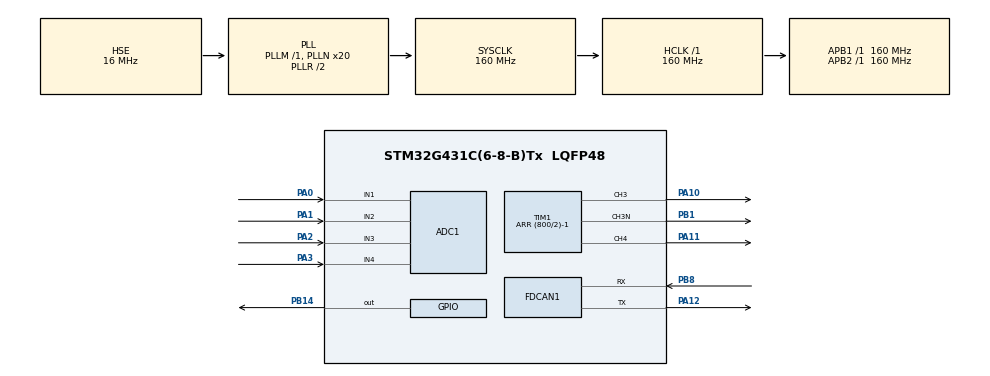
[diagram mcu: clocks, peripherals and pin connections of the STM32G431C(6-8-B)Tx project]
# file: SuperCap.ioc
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ADC1.Channel-0\#ChannelRegularConversion=ADC_CHANNEL_1
ADC1.Channel-1\#ChannelRegularConversion=ADC_CHANNEL_2
ADC1.Channel-2\#ChannelRegularConversion=ADC_CHANNEL_3
ADC1.Channel-3\#ChannelRegularConversion=ADC_CHANNEL_4
ADC1.Channel-4\#ChannelRegularConversion=ADC_CHANNEL_4
ADC1.ContinuousConvMode=DISABLE
ADC1.DMAContinuousRequests=ENABLE
ADC1.ExternalTrigConv=ADC_EXTERNALTRIG_T1_TRGO
ADC1.NbrOfConversion=5
ADC1.NbrOfConversionFlag=1
ADC1.OffsetNumber-0\#ChannelRegularConversion=ADC_OFFSET_NONE
ADC1.OffsetNumber-1\#ChannelRegularConversion=ADC_OFFSET_NONE
ADC1.OffsetNumber-2\#ChannelRegularConversion=ADC_OFFSET_NONE
ADC1.OffsetNumber-3\#ChannelRegularConversion=ADC_OFFSET_NONE
ADC1.OffsetNumber-4\#ChannelRegularConversion=ADC_OFFSET_NONE
ADC1.Overrun=ADC_OVR_DATA_OVERWRITTEN
ADC1.Rank-0\#ChannelRegularConversion=1
ADC1.Rank-1\#ChannelRegularConversion=2
ADC1.Rank-2\#ChannelRegularConversion=3
ADC1.Rank-3\#ChannelRegularConversion=4
ADC1.Rank-4\#ChannelRegularConversion=5
ADC1.SamplingTime-0\#ChannelRegularConversion=ADC_SAMPLETIME_6CYCLES_5
ADC1.SamplingTime-1\#ChannelRegularConversion=ADC_SAMPLETIME_6CYCLES_5
ADC1.SamplingTime-2\#ChannelRegularConversion=ADC_SAMPLETIME_6CYCLES_5
ADC1.SamplingTime-3\#ChannelRegularConversion=ADC_SAMPLETIME_6CYCLES_5
ADC1.SamplingTime-4\#ChannelRegularConversion=ADC_SAMPLETIME_6CYCLES_5
ADC1.master=1
Dma.ADC1.0.Direction=DMA_PERIPH_TO_MEMORY
Dma.ADC1.0.EventEnable=DISABLE
Dma.ADC1.0.Instance=DMA1_Channel1
Dma.ADC1.0.MemDataAlignment=DMA_MDATAALIGN_HALFWORD
Dma.ADC1.0.MemInc=DMA_MINC_ENABLE
Dma.ADC1.0.Mode=DMA_CIRCULAR
Dma.ADC1.0.PeriphDataAlignment=DMA_PDATAALIGN_HALFWORD
Dma.ADC1.0.PeriphInc=DMA_PINC_DISABLE
Dma.ADC1.0.Polarity=HAL_DMAMUX_REQ_GEN_RISING
Dma.ADC1.0.Priority=DMA_PRIORITY_HIGH
Dma.ADC1.0.RequestNumber=1
Dma.ADC1.0.SignalID=NONE
Dma.ADC1.0.SyncEnable=DISABLE
Dma.ADC1.0.SyncPolarity=HAL_DMAMUX_SYNC_NO_EVENT
Dma.ADC1.0.SyncRequestNumber=1
Dma.ADC1.0.SyncSignalID=NONE
Dma.Request0=ADC1
FDCAN1.CalculateBaudRateNominal=2000000
FDCAN1.CalculateTimeBitNominal=500
FDCAN1.CalculateTimeQuantumNominal=100.0
Mcu.Family=STM32G4
Mcu.Name=STM32G431C(6-8-B)Tx
Mcu.Package=LQFP48
NVIC.DMA1_Channel1_IRQn=true\:0\:0\:false\:false\:true\:false\:true\:true
NVIC.PriorityGroup=NVIC_PRIORITYGROUP_4
NVIC.TIM1_UP_TIM16_IRQn=true\:0\:0\:true\:false\:true\:true\:true\:true
PA0.Mode=IN1-Single-Ended
PA0.Signal=ADC1_IN1
PA1.Mode=IN2-Single-Ended
PA1.Signal=ADC1_IN2
PA10.GPIO_PuPd=GPIO_PULLDOWN
PA10.GPIO_Speed=GPIO_SPEED_FREQ_MEDIUM
PA10.Signal=S_TIM1_CH3
PA11.Signal=S_TIM1_CH4
PA12.Mode=FDCAN_Activate
PA12.Signal=FDCAN1_TX
PA13.Mode=Serial_Wire
PA13.Signal=SYS_JTMS-SWDIO
PA14.Mode=Serial_Wire
PA14.Signal=SYS_JTCK-SWCLK
PA2.Mode=IN3-Single-Ended
PA2.Signal=ADC1_IN3
PA3.Mode=IN4-Single-Ended
PA3.Signal=ADC1_IN4
PB1.GPIO_PuPd=GPIO_PULLDOWN
PB1.GPIO_Speed=GPIO_SPEED_FREQ_MEDIUM
PB1.Mode=PWM Generation3 CH3 CH3N
PB1.Signal=TIM1_CH3N
PB14.Signal=GPIO_Output
PB8-BOOT0.Mode=FDCAN_Activate
PB8-BOOT0.Signal=FDCAN1_RX
PF0-OSC_IN.Mode=HSE-External-Oscillator
PF0-OSC_IN.Signal=RCC_OSC_IN
PF1-OSC_OUT.Mode=HSE-External-Oscillator
PF1-OSC_OUT.Signal=RCC_OSC_OUT
ProjectManager.HeapSize=0x200
ProjectManager.StackSize=0x400
ProjectManager.TargetToolchain=MDK-ARM V5.32
RCC.ADC12Freq_Value=160000000
RCC.AHBFreq_Value=160000000
RCC.APB1Freq_Value=160000000
RCC.APB1TimFreq_Value=160000000
RCC.APB2Freq_Value=160000000
RCC.APB2TimFreq_Value=160000000
RCC.CodegenConfigPeriph=true
RCC.CortexFreq_Value=160000000
RCC.EXTERNAL_CLOCK_VALUE=12288000
RCC.HCLKFreq_Value=160000000
RCC.HSE_VALUE=16000000
RCC.HSI48_VALUE=48000000
RCC.HSI_VALUE=16000000
RCC.LSE_VALUE=32768
RCC.PLLN=20
RCC.PLLSourceVirtual=RCC_PLLSOURCE_HSE
RCC.SYSCLKFreq_VALUE=160000000
RCC.SYSCLKSource=RCC_SYSCLKSOURCE_PLLCLK
RCC.USBFreq_Value=160000000
RCC.VCOOutputFreq_Value=320000000
SH.S_TIM1_CH3.0=TIM1_CH3,PWM Generation3 CH3 CH3N
SH.S_TIM1_CH4.0=TIM1_CH4,Output Compare4 CH4
TIM1.AutoReloadPreload=TIM_AUTORELOAD_PRELOAD_ENABLE
TIM1.Channel-Output\ Compare4\ CH4=TIM_CHANNEL_4
TIM1.Channel-PWM\ Generation3\ CH3\ CH3N=TIM_CHANNEL_3
TIM1.CounterMode=TIM_COUNTERMODE_CENTERALIGNED1
TIM1.DeadTime=6
TIM1.DeadTimePreload=ENABLE
TIM1.OC3Preload_PWM=ENABLE
TIM1.OffStateIDLEMode=TIM_OSSI_DISABLE
TIM1.OffStateRunMode=TIM_OSSR_DISABLE
TIM1.PeriodNoDither=(800/2)-1
TIM1.PulseNoDither_3=200
TIM1.PulseNoDither_4=399
TIM1.RepetitionCounter=2-1
TIM1.TIM_MasterOutputTrigger=TIM_TRGO_UPDATE
VP_SYS_VS_DBSignals.Mode=DisableDeadBatterySignals
board=custom

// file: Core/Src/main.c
/* USER CODE BEGIN Header */
/**
  ******************************************************************************
  * @file           : main.c
  * @brief          : Main program body
  ******************************************************************************
  * @attention
  *
  * Copyright (c) 2026 STMicroelectronics.
  * All rights reserved.
  *
  * This software is licensed under terms that can be found in the LICENSE file
  * in the root directory of this software component.
  * If no LICENSE file comes with this software, it is provided AS-IS.
  *
  ******************************************************************************
  */
/* USER CODE END Header */
#include "main.h"
#include "adc.h"
#include "dma.h"
#include "fdcan.h"
#include "tim.h"
#include "gpio.h"

/* USER CODE BEGIN PV */
#define Icap_chg_max_i -2 //-20
#define Icap_dis_max_i 3 //30
#define Icap_min -6 //-20
#define Icap_max 9 //30
#define Icap_CC -2 //-20
#define Vcap_CC 7
#define D_MIN_i 5
#define D_MAX_i 389
#define D_min 5
#define D_max 389
#define Ibat_max 10 //10
#define Vcap_max 26
#define Vbat_max 28

volatile uint16_t adc_buf[5]={0};
volatile uint8_t adc_ready_flag=0;
float Vcap=0, Vbat=0;
float Icap=0, Ibat=0;
float Temp=0;
int initialstart=1;//
int Duty = 0;
int adc_offline_cnt=0;
float Pbat=0,Pcap=0,Pref=15;

enum CapProtection
{Default=0,BatOverCurrent,CapDischargeOC,CapChargeOC,CapOverVoltage,ADCOffline,Normal,BatOVP}
errName=6;

enum CHARGESTATUS{SoftStart=1,Norm=2} ChargeState=0;
/* USER CODE END PV */

void SystemClock_Config(void);

int main(void)
{

  /* MCU Configuration--------------------------------------------------------*/

  /* Reset of all peripherals, Initializes the Flash interface and the Systick. */
  HAL_Init();

  /* Configure the system clock */
  SystemClock_Config();

  /* Initialize all configured peripherals */
  MX_GPIO_Init();
  MX_DMA_Init();
  MX_ADC1_Init();
  MX_FDCAN1_Init();
  MX_TIM1_Init();
  /* USER CODE BEGIN 2 */
	TIM1->BDTR &= ~TIM_BDTR_MOE;
  /* USER CODE END 2 */

  /* Infinite loop */
  /* USER CODE BEGIN WHILE */
	HAL_TIM_PWM_Start(&htim1,TIM_CHANNEL_3);
	HAL_TIMEx_PWMN_Start(&htim1,TIM_CHANNEL_3);
	HAL_TIM_Base_Start_IT(&htim1);
	__HAL_TIM_ENABLE_IT(&htim1, TIM_IT_UPDATE);

	TIM1->BDTR |= TIM_BDTR_MOE;

	__HAL_TIM_SET_COMPARE(&htim1,TIM_CHANNEL_3,4);
	HAL_ADC_Start_DMA(&hadc1, (uint32_t *)adc_buf, 5);
  while (1)
  {
		//__HAL_TIM_SET_COMPARE(&htim1,TIM_CHANNEL_3,200);
		//HAL_Delay(1000);
		//initialstart=1;
    /* USER CODE END WHILE */

  }
}

void SystemClock_Config(void)
{
  RCC_OscInitTypeDef RCC_OscInitStruct = {0};
  RCC_ClkInitTypeDef RCC_ClkInitStruct = {0};

  /** Configure the main internal regulator output voltage
  */
  HAL_PWREx_ControlVoltageScaling(PWR_REGULATOR_VOLTAGE_SCALE1_BOOST);

  /** Initializes the RCC Oscillators according to the specified parameters
  * in the RCC_OscInitTypeDef structure.
  */
  RCC_OscInitStruct.OscillatorType = RCC_OSCILLATORTYPE_HSE;
  RCC_OscInitStruct.HSEState = RCC_HSE_ON;
  RCC_OscInitStruct.PLL.PLLState = RCC_PLL_ON;
  RCC_OscInitStruct.PLL.PLLSource = RCC_PLLSOURCE_HSE;
  RCC_OscInitStruct.PLL.PLLM = RCC_PLLM_DIV1;
  RCC_OscInitStruct.PLL.PLLN = 20;
  RCC_OscInitStruct.PLL.PLLP = RCC_PLLP_DIV2;
  RCC_OscInitStruct.PLL.PLLQ = RCC_PLLQ_DIV2;
  RCC_OscInitStruct.PLL.PLLR = RCC_PLLR_DIV2;
  if (HAL_RCC_OscConfig(&RCC_OscInitStruct) != HAL_OK)
  {
    Error_Handler();
  }

  /** Initializes the CPU, AHB and APB buses clocks
  */
  RCC_ClkInitStruct.ClockType = RCC_CLOCKTYPE_HCLK|RCC_CLOCKTYPE_SYSCLK
                              |RCC_CLOCKTYPE_PCLK1|RCC_CLOCKTYPE_PCLK2;
  RCC_ClkInitStruct.SYSCLKSource = RCC_SYSCLKSOURCE_PLLCLK;
  RCC_ClkInitStruct.AHBCLKDivider = RCC_SYSCLK_DIV1;
  RCC_ClkInitStruct.APB1CLKDivider = RCC_HCLK_DIV1;
  RCC_ClkInitStruct.APB2CLKDivider = RCC_HCLK_DIV1;

  if (HAL_RCC_ClockConfig(&RCC_ClkInitStruct, FLASH_LATENCY_4) != HAL_OK)
  {
    Error_Handler();
  }
}

/* USER CODE BEGIN 4 */

/*

*/
void HAL_ADC_ConvCpltCallback(ADC_HandleTypeDef* hadc){
    if(hadc->Instance == ADC1)
    {
        adc_ready_flag = 1;
    }
}

/*
ADC-Converting
*/
inline void ADC_ConvertToPhysical(){
	Vbat=( 0.00848 * adc_buf[0] +  0.62);
	Vcap=( 0.00844 * adc_buf[1] +  0.56);
	Ibat=( 0.00402 * adc_buf[2] -  0.01);
	Icap=( 0.01957 * adc_buf[3] - 38.67);
	//Temp=adc_buf[4];
}

/*
StopRunning
MOE to zero and stop PWM and pull low the IO
*/
inline void StopRunning(int errCode){
	if(errCode){
		if(initialstart){
			TIM1->BDTR &= ~TIM_BDTR_MOE;
			errName=errCode;
			return;
		}
	}
	else if(Vcap>Vcap_CC){
		ChargeState=2;
		return;
	}
	else {
		ChargeState=1;
		return;
	}
}

/*
OCP OVP OTP UVLO ...
*/
int ProtectionCnt=0;

inline void Protection(){
	if(Ibat > Ibat_max){
		if(ProtectionCnt == 5) StopRunning(1);
		else ProtectionCnt+=1;
	}
	else if(Icap >  Icap_max){
		if(ProtectionCnt == 5) StopRunning(2);
		else ProtectionCnt+=1;
	}
	else if(Icap <  Icap_min ) {
		if(ProtectionCnt == 5) StopRunning(3);
		else ProtectionCnt+=1;
	}
	else if(Vcap > Vcap_max) {
		//if(ProtectionCnt == 5)
			StopRunning(4);
		//else ProtectionCnt+=1;
	}
	else if(Vbat > Vbat_max) {
		//if(ProtectionCnt == 5)
			StopRunning(7);
		//else ProtectionCnt+=1;
	}
	else ProtectionCnt = 0;

}

/*
PowerCalculating
*/
inline void Physical_Calc(){
	Pbat=Ibat*Vbat;
	Pcap=Icap*Vcap;
}

/*
Limit
*/

inline float LIMIT(float p,float min,float max){
    if (p < min) return min;
    if (p > max) return max;
    return p;
}
/*
PID Data Structure
*/
typedef struct
{
    float kp;
    float ki;
    float ts;

    float integral;
    float out_min;
    float out_max;
} PI_Controller;

PI_Controller pi_pbat =
{
    .kp      = 0.05f,
    .ki      = 12.0f,
    .ts      = 0.0005f,

    .integral = 0.0f,
    .out_min  = Icap_chg_max_i,   // ??????
    .out_max  = Icap_dis_max_i    // ??????
};

PI_Controller pi_pbat_SS =
{
    .kp      = 0.05f,
    .ki      = 12.0f,
    .ts      = 0.0005f,

    .integral = 0.0f,
    .out_min  = Icap_CC,   // ??????
    .out_max  = 0    // ??????
};

PI_Controller pi_icap =
{
    .kp      = 0.18f,
    .ki      = 600.0f,
    .ts      = 0.000001f,

    .integral = 0.0f,
    .out_min  = D_MIN_i,
    .out_max  = D_MAX_i
};
/*
PI_RUN
based on a structed PI
*/
inline float PI_Run(PI_Controller *pi,float ref,float fdb)
{
    float err = ref - fdb;

    /* ?? */
    pi->integral += pi->ki * err * pi->ts;

    /* anti-windup:???? */
    if (pi->integral > pi->out_max)
        pi->integral = pi->out_max;
    else if (pi->integral < pi->out_min)
        pi->integral = pi->out_min;

    /* ?? */
    float out = pi->kp * err + pi->integral;

    /* ???? */
    if (out > pi->out_max)
        out = pi->out_max;
    else if (out < pi->out_min)
        out = pi->out_min;

    return out;
}

float Pbat_Control(float Pref,float Pbat,float Vcap)
{
    if (Vcap < Vcap_CC)//SoftStart
    {
			StopRunning(0);
			return PI_Run(&pi_pbat_SS, Pbat, Pref);
    }
    return PI_Run(&pi_pbat, Pbat, Pref);
}

float Icap_Control(float Icap_ref,float Icap)
{
    return PI_Run(&pi_icap, Icap, Icap_ref);
}

/*
Time1 UpdataEvent
ADC-Converting
PID-Calc
*/
int PowerPIcnt=0;
float Iaim = 0;
void HAL_TIM_PeriodElapsedCallback(TIM_HandleTypeDef *htim)
{
    if (htim->Instance == TIM1)
    {
        if (!adc_ready_flag){
					if(adc_offline_cnt < 5){
						adc_offline_cnt += 1;
						return;
					}
					else
						StopRunning(5);//adc offline
				}

        adc_offline_cnt=0;
        adc_ready_flag = 0;

        ADC_ConvertToPhysical();
        Protection();
				Physical_Calc();
        //if (sys_state != SYS_OK) {
        //    PWM_Shutdown();
        //    return;
        //}
				PowerPIcnt+=1;
				if (PowerPIcnt==50){
					PowerPIcnt=0;
					Iaim = Pbat_Control(Pref,Pbat,Vcap);
				}
				Iaim=LIMIT(Iaim,Icap_min,Icap_max);
				Duty = Icap_Control(Iaim, Icap);
				Duty =LIMIT(Duty,D_min,D_max);
				__HAL_TIM_SET_COMPARE(&htim1,TIM_CHANNEL_3,Duty);
    }
}
/* USER CODE END 4 */

void Error_Handler(void)
{
  __disable_irq();
  while (1)
  {
  }
}
